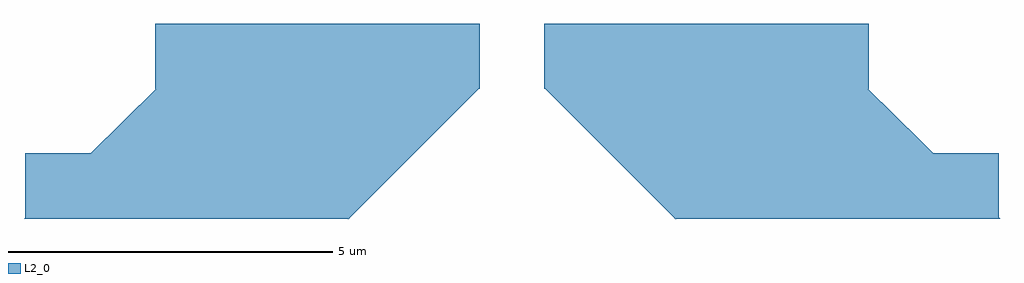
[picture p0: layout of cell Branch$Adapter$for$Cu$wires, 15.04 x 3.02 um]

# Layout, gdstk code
import gdstk
lib = gdstk.Library(unit=1e-6, precision=1e-09)
def R(c, l, rs):  # rectangles x0, y0, x1, y1
    for r in rs: c.add(gdstk.rectangle(r[:2], r[2:], *l))
def P(c, l, *ps):  # polygons
    for p in ps: c.add(gdstk.Polygon(p, *l))
L2_0 = (2, 0)

branch_adapter_for_cu_wi = lib.new_cell('Branch$Adapter$for$Cu$wires')
R(branch_adapter_for_cu_wi, L2_0, [(5992,5998,5997,5999), (6002,5998,6007,5999), (5994,6000,5999,6001), (6000,6000,6005,6001)])
P(branch_adapter_for_cu_wi, L2_0, [(6002.025,5997.985),(6000.011,5999.999),(6004.983,5999.999),(6007.02,5997.996)],
  [(5996.975,5997.985),(5991.98,5997.996),(5994.017,5999.999),(5998.989,5999.999)])

lib.write_gds('Branch_Adapter_for_Cu_wires.gds')
